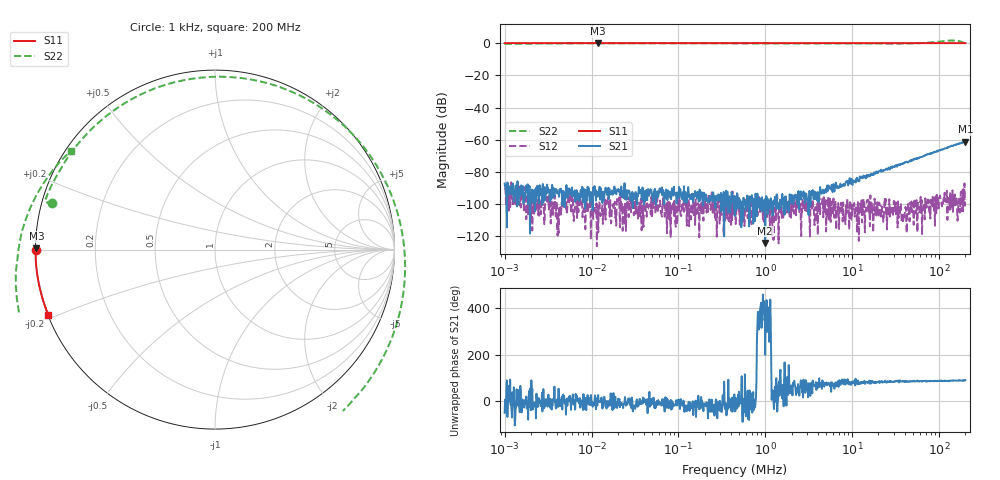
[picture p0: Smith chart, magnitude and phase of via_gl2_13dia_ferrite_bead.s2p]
! ListType=Log
# MHZ S RI R 50
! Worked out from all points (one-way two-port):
!   1000 points, 1 kHz to 200 MHz, reference 50 ohm
!   highest |S21| = -61.07 dB at 200 MHz (marker M1); lowest = -124.0 dB at 995.6 kHz (marker M2)
!   lowest |S11| = 0.0 dB at 11.95 kHz (marker M3), VSWR 407.60, Z = 0.123 + j0.158 ohm
!   |S11| at or under -10 dB: nowhere
!   |S22| runs from -0.5 to 1.7 dB; largest |S21 - S12| = 0.00089
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0.001  -0.9983 -0.000822  2.95e-05 -3.29e-05  -1.15e-05 -2.99e-05  -0.9089 0.26
0.0076941  -0.9998 -0.000337  2.4e-05 -3.6e-06  -2.1e-06 8.4e-06  -0.9422 0.2759
0.011945  -0.9951 0.00631  1.97e-05 1.02e-05  -1.2e-06 6e-07  -0.9435 0.2782
0.0584804  -0.9998 -0.000137  1.7e-05 1.8e-06  1.1e-06 -7.5e-06  -0.9406 0.2882
0.4499541  -0.9998 -0.000829  1.28e-05 -1.16e-05  1.8e-06 7.1e-06  -0.9349 0.303
0.9955889  -0.9997 -0.00191  -6e-07 -2e-07  -3.2e-06 -5e-06  -0.9269 0.3216
3.419952  -0.9997 -0.00658  1.47e-05 2.15e-05  -1.8e-06 -7.2e-06  -0.8867 0.4028
12.03851  -0.9997 -0.0229  8.1e-06 5.1e-05  -7.5e-06 -3e-07  -0.7122 0.6466
18.68963  -0.9994 -0.0355  2.07e-05 9.5e-05  -6.6e-06 4.7e-06  -0.5404 0.7917
26.31347  -0.9989 -0.0498  1.34e-05 0.000138  3.6e-06 -3.5e-06  -0.3118 0.9064
38.43037  -0.9976 -0.0724  8.2e-06 0.000183  1.2e-06 -2.3e-06  0.0882 0.9611
50.9003  -0.9956 -0.0957  1.99e-05 0.000249  -1e-07 -2.3e-06  0.4925 0.8486
64.99008  -0.9927 -0.1219  1.79e-05 0.000307  6e-06 -3.9e-06  0.8567 0.5339
81.97236  -0.9881 -0.1533  1.66e-05 0.000391  5.3e-06 -7.1e-06  1.057 -0.0223
92.62555  -0.9848 -0.1729  1.86e-05 0.000431  -3.4e-06 -4.1e-06  1.016 -0.4025
103.3922  -0.981 -0.1925  2.19e-05 0.000471  -9.6e-06 -1.12e-05  0.8402 -0.7545
116.8291  -0.9756 -0.217  2.09e-05 0.000548  1.25e-05 -4.9e-06  0.4616 -1.075
128.8255  -0.9704 -0.2385  2.63e-05 0.000601  -1.25e-05 -1.01e-05  0.0311 -1.195
145.5678  -0.9615 -0.2689  2.39e-05 0.000682  5.8e-06 -1.22e-05  -0.5687 -1.06
164.4859  -0.9518 -0.3016  1.39e-05 0.000744  4.6e-06 -3.3e-06  -1.028 -0.5582
179.1732  -0.9426 -0.3263  1.12e-05 0.000786  -1.87e-05 -8.8e-06  -1.102 -0.0581
200  -0.9289 -0.3618  -6.5e-06 0.000884  -1.29e-05 -6.6e-06  -0.8026 0.5506
